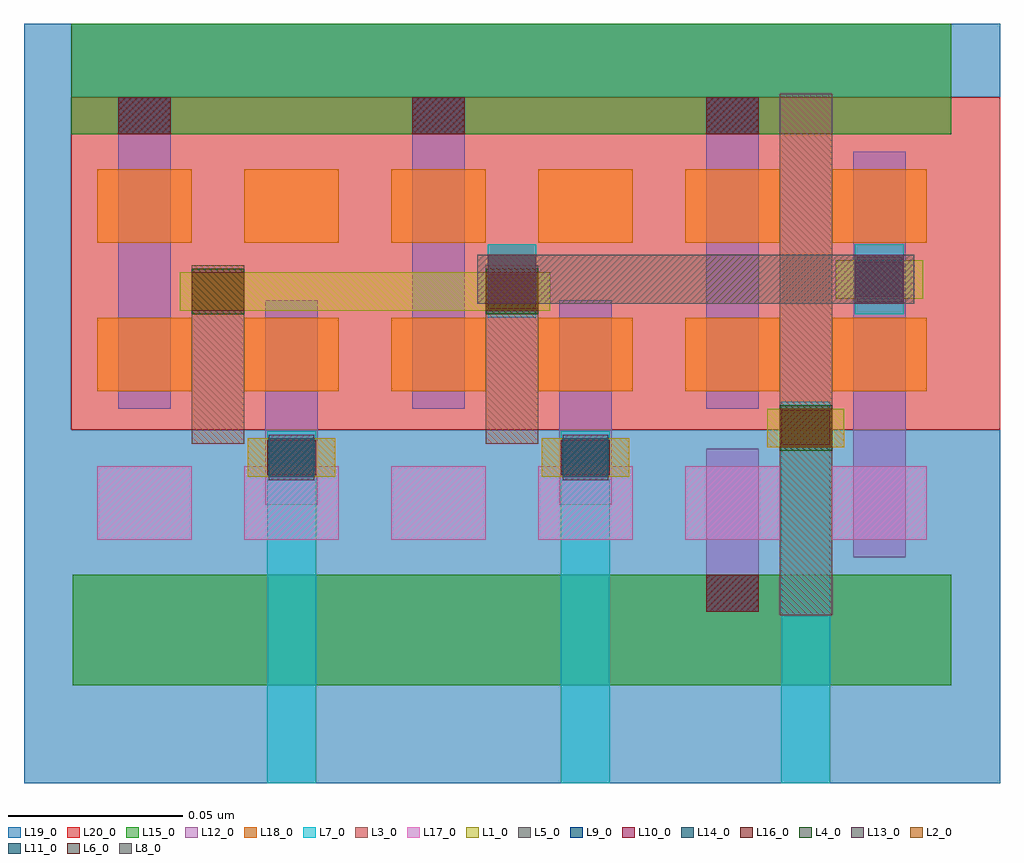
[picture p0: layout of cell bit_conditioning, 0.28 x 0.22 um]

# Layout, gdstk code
import gdstk
lib = gdstk.Library(unit=1e-6, precision=2.5e-10)
def R(c, l, rs):  # rectangles x0, y0, x1, y1
    for r in rs: c.add(gdstk.rectangle(r[:2], r[2:], *l))
def A(c, l, x, y, w, h, nx, ny, dx, dy):  # array of equal rectangles
    R(c, l, [(x+i*dx, y+j*dy, x+i*dx+w, y+j*dy+h) for i in range(nx) for j in range(ny)])
def P(c, l, *ps):  # polygons
    for p in ps: c.add(gdstk.Polygon(p, *l))
L1_0 = (1, 0)
L2_0 = (2, 0)
L3_0 = (3, 0)
L4_0 = (4, 0)
L5_0 = (5, 0)
L6_0 = (6, 0)
L7_0 = (7, 0)
L8_0 = (8, 0)
L9_0 = (9, 0)
L10_0 = (10, 0)
L11_0 = (11, 0)
L12_0 = (12, 0)
L13_0 = (13, 0)
L14_0 = (14, 0)
L15_0 = (15, 0)
L16_0 = (16, 0)
L17_0 = (17, 0)
L18_0 = (18, 0)
L19_0 = (19, 0)
L20_0 = (20, 0)

inv_2 = lib.new_cell('inv_2')
R(inv_2, L1_0, [(-0.011,0.016,0.011,0.027), (0.0085,0.0585,0.0335,0.0695)])
R(inv_2, L2_0, [(-0.0075,0.016,0.0075,0.027)])
R(inv_2, L3_0, [(-0.0075,-0.032,0.0075,0.117)])
R(inv_2, L4_0, [(-0.0075,0.015,0.0075,0.028)])
R(inv_2, L11_0, [(0.0145,0.0585,0.0275,0.0695)])
R(inv_2, L12_0, [(-0.0285,-0.031,-0.0135,0.0155), (0.0135,-0.0155,0.0285,0.1005), (-0.0285,0.027,-0.0135,0.116)])
R(inv_2, L13_0, [(0.0145,0.0575,0.0275,0.0705)])
R(inv_2, L14_0, [(-0.0285,-0.031,-0.0135,-0.0205), (-0.0285,0.1055,-0.0135,0.116)])
R(inv_2, L15_0, [(-0.042,-0.052,0.0415,-0.0205), (-0.042,0.1055,0.0415,0.137)])
R(inv_2, L16_0, [(-0.0285,-0.031,-0.0135,-0.0205), (-0.0285,0.1055,-0.0135,0.116)])
R(inv_2, L17_0, [(-0.0555,-0.0105,-0.0495,0.0105), (-0.0345,-0.0105,-0.0075,0.0105), (0.0075,-0.0105,0.0345,0.0105)])
R(inv_2, L18_0, [(-0.0555,0.032,-0.0495,0.053), (-0.0345,0.032,-0.0075,0.053), (0.0075,0.032,0.0345,0.053), (-0.0555,0.0745,-0.0495,0.0955), (-0.0345,0.0745,-0.0075,0.0955), (0.0075,0.0745,0.0345,0.0955)])
R(inv_2, L19_0, [(-0.0555,-0.052,0.0555,0.021), (-0.0555,0.116,0.0555,0.137)])
R(inv_2, L20_0, [(-0.0555,0.021,0.0555,0.116)])

bit_conditioning = lib.new_cell('bit_conditioning')
R(bit_conditioning, L1_0, [(0.5905,0.4245,0.6155,0.4355), (0.6745,0.4245,0.6995,0.4355), (0.739,0.4335,0.761,0.4435), (0.571,0.472,0.677,0.483), (0.76,0.476,0.782,0.486)])
R(bit_conditioning, L2_0, [(0.5745,0.472,0.5895,0.483), (0.6585,0.472,0.6735,0.483)])
R(bit_conditioning, L3_0, [(0.5745,0.434,0.5895,0.485), (0.6585,0.434,0.6735,0.485)])
R(bit_conditioning, L4_0, [(0.5745,0.471,0.5895,0.484), (0.6585,0.471,0.6735,0.484)])
R(bit_conditioning, L5_0, [(0.656,0.474,0.781,0.488)])
R(bit_conditioning, L6_0, [(0.659,0.474,0.673,0.488), (0.764,0.474,0.778,0.488)])
R(bit_conditioning, L7_0, [(0.596,0.337,0.61,0.4375), (0.68,0.337,0.694,0.4375), (0.743,0.337,0.757,0.446), (0.659,0.47,0.673,0.491), (0.764,0.471,0.778,0.491)])
R(bit_conditioning, L8_0, [(0.659,0.474,0.673,0.488), (0.764,0.474,0.778,0.488)])
R(bit_conditioning, L9_0, [(0.596,0.425,0.61,0.435), (0.68,0.425,0.694,0.435), (0.743,0.4335,0.757,0.4435), (0.659,0.4725,0.673,0.4825), (0.764,0.476,0.778,0.486)])
R(bit_conditioning, L10_0, [(0.596,0.425,0.61,0.435), (0.68,0.425,0.694,0.435), (0.743,0.4335,0.757,0.4435), (0.659,0.4725,0.673,0.4825), (0.764,0.476,0.778,0.486)])
R(bit_conditioning, L11_0, [(0.5965,0.4245,0.6095,0.4355), (0.6805,0.4245,0.6935,0.4355)])
R(bit_conditioning, L12_0, [(0.5955,0.4165,0.6105,0.475), (0.6795,0.4165,0.6945,0.475), (0.5535,0.444,0.5685,0.533), (0.6375,0.444,0.6525,0.533)])
R(bit_conditioning, L13_0, [(0.5965,0.4235,0.6095,0.4365), (0.6805,0.4235,0.6935,0.4365)])
R(bit_conditioning, L14_0, [(0.5535,0.5225,0.5685,0.533), (0.6375,0.5225,0.6525,0.533)])
R(bit_conditioning, L15_0, [(0.5405,0.365,0.708,0.3965), (0.54,0.5225,0.708,0.554)])
R(bit_conditioning, L16_0, [(0.5535,0.5225,0.5685,0.533), (0.6375,0.5225,0.6525,0.533)])
A(bit_conditioning, L17_0, 0.5475, 0.4065, 0.027, 0.021, 3, 1, 0.042, 0)
R(bit_conditioning, L17_0, [(0.6735,0.4065,0.6945,0.4275)])
A(bit_conditioning, L18_0, 0.5475, 0.449, 0.027, 0.021, 4, 1, 0.042, 0)
A(bit_conditioning, L18_0, 0.5475, 0.4915, 0.027, 0.021, 3, 1, 0.042, 0)
R(bit_conditioning, L18_0, [(0.6735,0.4915,0.6945,0.5125)])
P(bit_conditioning, L19_0, [(0.6945,0.554),(0.6945,0.533),(0.54,0.533),(0.54,0.438),(0.6945,0.438),(0.6945,0.365),(0.8055,0.365),(0.8055,0.337),(0.5265,0.337),(0.5265,0.554)])
P(bit_conditioning, L20_0, [(0.6945,0.533),(0.6945,0.48),(0.708,0.48),(0.708,0.439),(0.6945,0.439),(0.6945,0.438),(0.54,0.438),(0.54,0.533)])
bit_conditioning.add(gdstk.Reference(inv_2, (0.75,0.417)))

lib.write_gds('bit_conditioning.gds')
